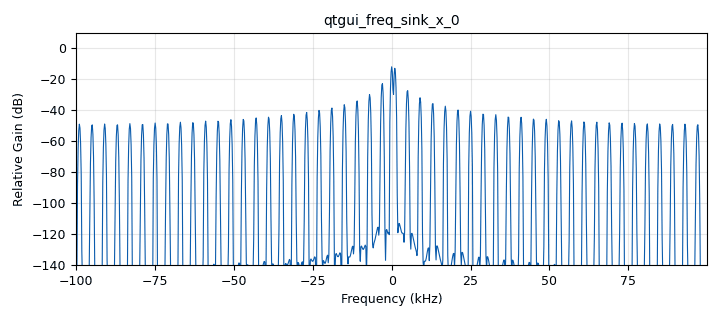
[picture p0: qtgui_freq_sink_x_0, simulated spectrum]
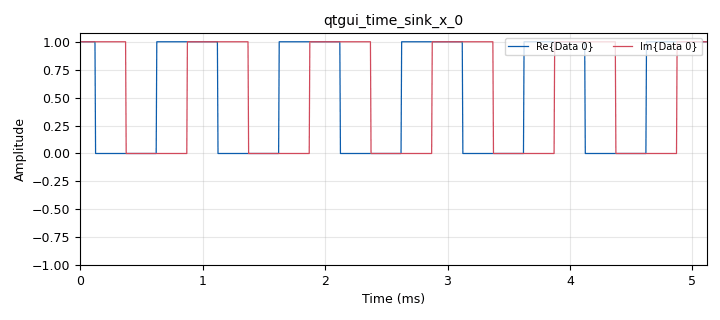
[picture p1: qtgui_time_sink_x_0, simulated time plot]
options:
  parameters:
    author: Damian_Morales_J1C_G6
    generate_options: qt_gui
    id: Lab2_a
    output_language: python
    title: configuracion usrp
  states: {}

blocks:
- name: A
  id: variable_qtgui_range
  parameters:
    label: Amplitud de la señal TX
    start: '0'
    step: '0.0001'
    stop: '1'
    value: '1'
  states: {}
- name: GTX
  id: variable_qtgui_range
  parameters:
    label: Ganancia del TX
    start: '0'
    step: '1'
    stop: '30'
    value: '3'
  states: {}
- name: fc
  id: variable_qtgui_range
  parameters:
    label: Frecuencia Portadora
    start: '50000000'
    step: '1000000'
    stop: '2200000000'
    value: '50000000'
  states: {}
- name: samp_rate
  id: variable
  parameters:
    value: '200000'
  states: {}
- name: analog_sig_source_x_1
  id: analog_sig_source_x
  parameters:
    amp: A
    freq: '1000'
    offset: '0'
    phase: '0'
    samp_rate: samp_rate
    type: complex
    waveform: analog.GR_SQR_WAVE
  states: {}
- name: qtgui_freq_sink_x_0
  id: qtgui_freq_sink_x
  parameters:
    bw: samp_rate
    fc: '0'
    fftsize: '1024'
    type: complex
  states: {}
- name: qtgui_time_sink_x_0
  id: qtgui_time_sink_x
  parameters:
    size: '1024'
    srate: samp_rate
    type: complex
  states: {}
- name: uhd_usrp_sink_0
  id: uhd_usrp_sink
  parameters:
    ant0: '"TX/RX"'
    center_freq0: fc
    gain0: GTX
    samp_rate: samp_rate
    sync: pc_clock
    type: fc32
  states: {}

connections:
- [analog_sig_source_x_1, '0', qtgui_freq_sink_x_0, '0']
- [analog_sig_source_x_1, '0', qtgui_time_sink_x_0, '0']
- [analog_sig_source_x_1, '0', uhd_usrp_sink_0, '0']

metadata:
  file_format: 1
  grc_version: 3.10.5.1
